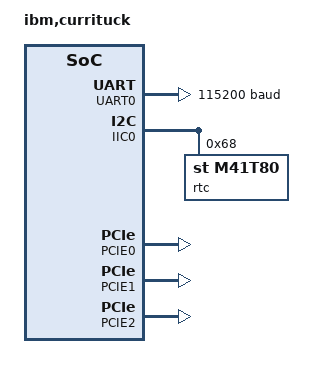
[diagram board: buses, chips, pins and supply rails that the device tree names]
/*
 * Device Tree Source for IBM Embedded PPC 476 Platform
 *
 * Copyright © 2011 Tony Breeds IBM Corporation
 *
 * This file is licensed under the terms of the GNU General Public
 * License version 2.  This program is licensed "as is" without
 * any warranty of any kind, whether express or implied.
 */

/dts-v1/;

/memreserve/ 0x01f00000 0x00100000;	// spin table

/ {
	#address-cells = <2>;
	#size-cells = <2>;
	model = "ibm,currituck";
	compatible = "ibm,currituck";
	dcr-parent = <&{/cpus/cpu@0}>;

	aliases {
		serial0 = &UART0;
	};

	cpus {
		#address-cells = <1>;
		#size-cells = <0>;

		cpu@0 {
			device_type = "cpu";
			model = "PowerPC,476";
			reg = <0>;
			clock-frequency = <1600000000>; // 1.6 GHz
			timebase-frequency = <100000000>; // 100Mhz
			i-cache-line-size = <32>;
			d-cache-line-size = <32>;
			i-cache-size = <32768>;
			d-cache-size = <32768>;
			dcr-controller;
			dcr-access-method = "native";
			status = "okay";
		};
		cpu@1 {
			device_type = "cpu";
			model = "PowerPC,476";
			reg = <1>;
			clock-frequency = <1600000000>; // 1.6 GHz
			timebase-frequency = <100000000>; // 100Mhz
			i-cache-line-size = <32>;
			d-cache-line-size = <32>;
			i-cache-size = <32768>;
			d-cache-size = <32768>;
			dcr-controller;
			dcr-access-method = "native";
			status = "disabled";
			enable-method = "spin-table";
			cpu-release-addr = <0x0 0x01f00000>;
		};
	};

	memory {
		device_type = "memory";
		reg = <0x0 0x0 0x0 0x0>; // filled in by zImage
	};

	MPIC: interrupt-controller {
		compatible = "chrp,open-pic";
		interrupt-controller;
		dcr-reg = <0xffc00000 0x00040000>;
		#address-cells = <0>;
		#size-cells = <0>;
		#interrupt-cells = <2>;

	};

	plb {
		compatible = "ibm,plb6";
		#address-cells = <2>;
		#size-cells = <2>;
		ranges;
		clock-frequency = <200000000>; // 200Mhz

		POB0: opb {
			compatible = "ibm,opb-4xx", "ibm,opb";
			#address-cells = <1>;
			#size-cells = <1>;
			/* Wish there was a nicer way of specifying a full
			 * 32-bit range
			 */
			ranges = <0x00000000 0x00000200 0x00000000 0x80000000
				  0x80000000 0x00000200 0x80000000 0x80000000>;
			clock-frequency = <100000000>;

			UART0: serial@10000000 {
				device_type = "serial";
				compatible = "ns16750", "ns16550";
				reg = <0x10000000 0x00000008>;
				virtual-reg = <0xe1000000>;
				clock-frequency = <1851851>; // PCIe refclk/MCGC0_CTL[UART]
				current-speed = <115200>;
				interrupt-parent = <&MPIC>;
				interrupts = <34 2>;
			};

			FPGA0: fpga@50000000 {
				compatible = "ibm,currituck-fpga";
				reg = <0x50000000 0x4>;
			};

			IIC0: i2c@0 {
				compatible = "ibm,iic-currituck", "ibm,iic";
				reg = <0x0 0x00000014>;
				interrupt-parent = <&MPIC>;
				interrupts = <79 2>;
				#address-cells = <1>;
				#size-cells = <0>;
                                rtc@68 {
                                        compatible = "st,m41t80", "m41st85";
                                        reg = <0x68>;
                                };
			};
		};

		PCIE0: pcie@10100000000 {		// 4xGBIF1
			device_type = "pci";
			#interrupt-cells = <1>;
			#size-cells = <2>;
			#address-cells = <3>;
			compatible = "ibm,plb-pciex-476fpe", "ibm,plb-pciex";
			primary;
			port = <0x0>; /* port number */
			reg = <0x00000101 0x00000000 0x0 0x10000000		/* Config space access */
			       0x00000100 0x00000000 0x0 0x00001000>;	/* UTL Registers space access */
			dcr-reg = <0x80 0x20>;

//                                pci_space  < pci_addr          > < cpu_addr          > < size       >
			ranges = <0x02000000 0x00000000 0x80000000 0x00000110 0x80000000 0x0 0x80000000
			          0x01000000 0x0        0x0        0x00000140 0x0        0x0 0x00010000>;

			/* Inbound starting at 0 to memsize filled in by zImage */
			dma-ranges = <0x42000000 0x0 0x0 0x0 0x0 0x0 0x0>;

			/* This drives busses 0 to 0xf */
			bus-range = <0x0 0xf>;

			/* Legacy interrupts (note the weird polarity, the bridge seems
			 * to invert PCIe legacy interrupts).
			 * We are de-swizzling here because the numbers are actually for
			 * port of the root complex virtual P2P bridge. But I want
			 * to avoid putting a node for it in the tree, so the numbers
			 * below are basically de-swizzled numbers.
			 * The real slot is on idsel 0, so the swizzling is 1:1
			 */
			interrupt-map-mask = <0x0 0x0 0x0 0x7>;
			interrupt-map = <
				0x0 0x0 0x0 0x1 &MPIC 46 0x2 /* int A */
				0x0 0x0 0x0 0x2 &MPIC 47 0x2 /* int B */
				0x0 0x0 0x0 0x3 &MPIC 48 0x2 /* int C */
				0x0 0x0 0x0 0x4 &MPIC 49 0x2 /* int D */>;
		};

		PCIE1: pcie@30100000000 {		// 4xGBIF0
			device_type = "pci";
			#interrupt-cells = <1>;
			#size-cells = <2>;
			#address-cells = <3>;
			compatible = "ibm,plb-pciex-476fpe", "ibm,plb-pciex";
			primary;
			port = <0x1>; /* port number */
			reg = <0x00000301 0x00000000 0x0 0x10000000		/* Config space access */
			       0x00000300 0x00000000 0x0 0x00001000>;	/* UTL Registers space access */
			dcr-reg = <0x60 0x20>;

			ranges = <0x02000000 0x00000000 0x80000000 0x00000310 0x80000000 0x0 0x80000000
			          0x01000000 0x0        0x0        0x00000340 0x0        0x0 0x00010000>;

			/* Inbound starting at 0 to memsize filled in by zImage */
			dma-ranges = <0x42000000 0x0 0x0 0x0 0x0 0x0 0x0>;

			/* This drives busses 0 to 0xf */
			bus-range = <0x0 0xf>;

			/* Legacy interrupts (note the weird polarity, the bridge seems
			 * to invert PCIe legacy interrupts).
			 * We are de-swizzling here because the numbers are actually for
			 * port of the root complex virtual P2P bridge. But I want
			 * to avoid putting a node for it in the tree, so the numbers
			 * below are basically de-swizzled numbers.
			 * The real slot is on idsel 0, so the swizzling is 1:1
			 */
			interrupt-map-mask = <0x0 0x0 0x0 0x7>;
			interrupt-map = <
				0x0 0x0 0x0 0x1 &MPIC 38 0x2 /* int A */
				0x0 0x0 0x0 0x2 &MPIC 39 0x2 /* int B */
				0x0 0x0 0x0 0x3 &MPIC 40 0x2 /* int C */
				0x0 0x0 0x0 0x4 &MPIC 41 0x2 /* int D */>;
		};

		PCIE2: pcie@38100000000 {		// 2xGBIF0
			device_type = "pci";
			#interrupt-cells = <1>;
			#size-cells = <2>;
			#address-cells = <3>;
			compatible = "ibm,plb-pciex-476fpe", "ibm,plb-pciex";
			primary;
			port = <0x2>; /* port number */
			reg = <0x00000381 0x00000000 0x0 0x10000000		/* Config space access */
			       0x00000380 0x00000000 0x0 0x00001000>;	/* UTL Registers space access */
			dcr-reg = <0xA0 0x20>;

			ranges = <0x02000000 0x00000000 0x80000000 0x00000390 0x80000000 0x0 0x80000000
			          0x01000000 0x0        0x0        0x000003C0 0x0        0x0 0x00010000>;

			/* Inbound starting at 0 to memsize filled in by zImage */
			dma-ranges = <0x42000000 0x0 0x0 0x0 0x0 0x0 0x0>;

			/* This drives busses 0 to 0xf */
			bus-range = <0x0 0xf>;

			/* Legacy interrupts (note the weird polarity, the bridge seems
			 * to invert PCIe legacy interrupts).
			 * We are de-swizzling here because the numbers are actually for
			 * port of the root complex virtual P2P bridge. But I want
			 * to avoid putting a node for it in the tree, so the numbers
			 * below are basically de-swizzled numbers.
			 * The real slot is on idsel 0, so the swizzling is 1:1
			 */
			interrupt-map-mask = <0x0 0x0 0x0 0x7>;
			interrupt-map = <
				0x0 0x0 0x0 0x1 &MPIC 54 0x2 /* int A */
				0x0 0x0 0x0 0x2 &MPIC 55 0x2 /* int B */
				0x0 0x0 0x0 0x3 &MPIC 56 0x2 /* int C */
				0x0 0x0 0x0 0x4 &MPIC 57 0x2 /* int D */>;
		};

	};

	chosen {
		stdout-path = &UART0;
	};
};
